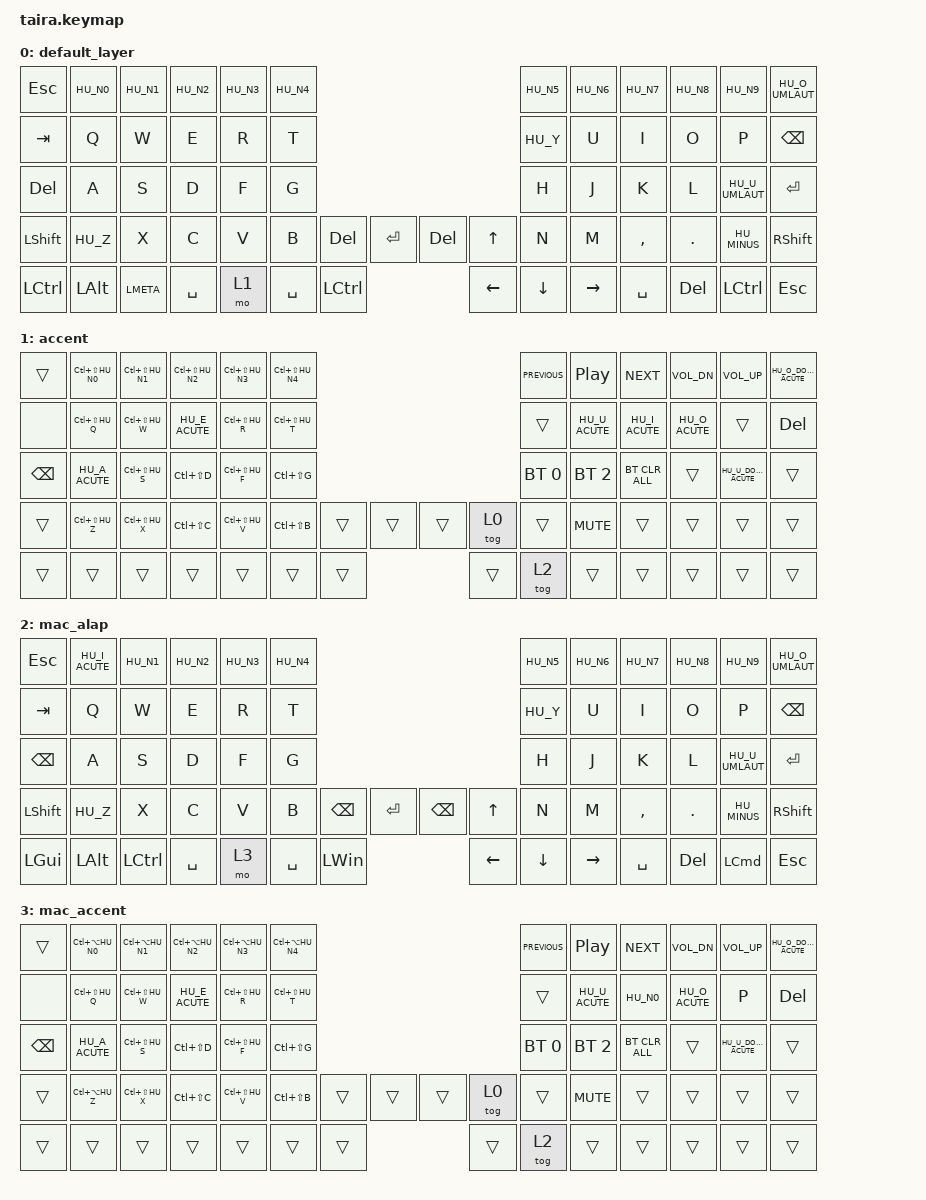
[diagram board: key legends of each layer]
/*
 * Copyright (c) 2020 The ZMK Contributors
 *
 * SPDX-License-Identifier: MIT
 */

#include "keys_hu.h"
#include <behaviors.dtsi>
#include <dt-bindings/zmk/bt.h>
#include <dt-bindings/zmk/keys.h>

#define DEFAULT 0
#define LOWER   1
#define RAISE   2
#define ADJUST  3
#define HYPER   4
#define GAME    5

/ {
    conditional_layers { compatible = "zmk,conditional-layers"; };

    combos { compatible = "zmk,combos"; };

    keymap {
        compatible = "zmk,keymap";

        default_layer {
            /* QWERTY
 * .----------------------------------------------------------------------------------------------------------------------------------.
 * |  `   |   1  |   2  |   3  |   4  |   5  |                                              |   6  |   7  |   8  |   9  |   0  | PScr |
 * |-------------+------+------+------+------+------+------+-------+-+-------+-------+------+------+------+------+------+------+------|
 * | ESC  |   Q  |   W  |   E  |   R  |   T  |                                              |   Y  |   U  |   I  |   O  |   P  |  \   |
 * |-------------+------+------+------+------+------+------+-------+-+-------+-------+------+------+------+------+------+------+------|
 * | Tab  |   A  |   S  |   D  |   F  |   G  |                                              |   H  |   J  |   K  |   L  |   ;  |  '   |
 * |-------------+------+------+------+------+------+------+-------+-+-------+-------+------+------+------+------+------+------+------|
 * | Shift|   Z  |   X  |   C  |   V  |   B  |      | Del  | PGDN  | | PGUP  | Home  |      |   N  |   M  |   ,  |   .  |   /  | Shift|
 * |-------------+------+------+------+------+------+------+-------+-+-------+-------+------+------+------+------+------+------+------|
 * | Ctrl | Alt  | Meta | Alt  |             | Meta | Space| Lower | | Raise | Enter | RAlt |             | LEFT | DOWN | UP   | RIGHT|
 * .----------------------------------------------------------------------------------------------------------------------------------.
 */

            bindings = <
&kp ESCAPE  &kp HU_N0     &kp HU_N1  &kp HU_N2  &kp HU_N3  &kp HU_N4                                                                                &kp HU_N5  &kp HU_N6  &kp HU_N7  &kp HU_N8   &kp HU_N9        &kp HU_O_UMLAUT
&kp TAB     &kp Q         &kp W      &kp E      &kp R      &kp T                                                                                    &kp HU_Y   &kp U      &kp I      &kp O       &kp P            &kp BACKSPACE
&kp DEL     &kp A         &kp S      &kp D      &kp F      &kp G                                                                                    &kp H      &kp J      &kp K      &kp L       &kp HU_U_UMLAUT  &kp ENTER
&kp LSHFT   &kp HU_Z      &kp X      &kp C      &kp V      &kp B             &kp DEL    &kp ENTER  &kp DELETE      &kp UP_ARROW                     &kp N      &kp M      &kp COMMA  &kp DOT     &kp HU_MINUS     &kp RSHFT
&kp LCTRL   &kp LEFT_ALT  &kp LMETA  &kp SPACE                        &mo 1  &kp SPACE  &kp LCTRL  &kp LEFT_ARROW  &kp DOWN_ARROW  &kp RIGHT_ARROW                        &kp SPACE  &kp DELETE  &kp LCTRL        &kp ESCAPE
            >;
        };

        accent {
            bindings = <
&trans         &kp LC(LS(HU_N0))  &kp LC(LS(HU_N1))  &kp LC(LS(HU_N2))  &kp LC(LS(HU_N3))  &kp LC(LS(HU_N4))                                                  &kp C_PREVIOUS  &kp C_PLAY_PAUSE  &kp C_NEXT      &kp C_VOL_DN    &kp C_VOL_UP           &kp HU_O_DOUBLE_ACUTE
&none          &kp LC(LS(HU_Q))   &kp LC(LS(HU_W))   &kp HU_E_ACUTE     &kp LC(LS(HU_R))   &kp LC(LS(HU_T))                                                   &trans          &kp HU_U_ACUTE    &kp HU_I_ACUTE  &kp HU_O_ACUTE  &trans                 &kp DEL
&kp BACKSPACE  &kp HU_A_ACUTE     &kp LC(LS(HU_S))   &kp LC(LS(D))      &kp LC(LS(HU_F))   &kp LC(LS(G))                                                      &bt BT_SEL 0    &bt BT_SEL 2      &bt BT_CLR_ALL  &trans          &kp HU_U_DOUBLE_ACUTE  &trans
&trans         &kp LC(LS(HU_Z))   &kp LC(LS(HU_X))   &kp LC(LS(C))      &kp LC(LS(HU_V))   &kp LC(LS(B))              &trans  &trans  &trans  &tog 0          &trans          &kp C_MUTE        &trans          &trans          &trans                 &trans
&trans         &trans             &trans             &trans                                                   &trans  &trans  &trans  &trans  &tog 2  &trans                                    &trans          &trans          &trans                 &trans
            >;
        };

        mac_alap {
            bindings = <
&kp ESCAPE     &kp HU_I_ACUTE  &kp HU_N1  &kp HU_N2  &kp HU_N3  &kp HU_N4                                                                                       &kp HU_N5  &kp HU_N6  &kp HU_N7  &kp HU_N8   &kp HU_N9         &kp HU_O_UMLAUT
&kp TAB        &kp Q           &kp W      &kp E      &kp R      &kp T                                                                                           &kp HU_Y   &kp U      &kp I      &kp O       &kp P             &kp BACKSPACE
&kp BACKSPACE  &kp A           &kp S      &kp D      &kp F      &kp G                                                                                           &kp H      &kp J      &kp K      &kp L       &kp HU_U_UMLAUT   &kp ENTER
&kp LSHFT      &kp HU_Z        &kp X      &kp C      &kp V      &kp B             &kp BACKSPACE  &kp ENTER     &kp BACKSPACE   &kp UP_ARROW                     &kp N      &kp M      &kp COMMA  &kp DOT     &kp HU_MINUS      &kp RSHFT
&kp LEFT_GUI   &kp LEFT_ALT    &kp LCTRL  &kp SPACE                        &mo 3  &kp SPACE      &kp LEFT_WIN  &kp LEFT_ARROW  &kp DOWN_ARROW  &kp RIGHT_ARROW                        &kp SPACE  &kp DELETE  &kp LEFT_COMMAND  &kp ESCAPE
            >;
        };

        mac_accent {
            bindings = <
&trans         &kp LC(LA(HU_N0))  &kp LC(LA(HU_N1))  &kp LC(LA(HU_N2))  &kp LC(LA(HU_N3))  &kp LC(LA(HU_N4))                                                  &kp C_PREVIOUS  &kp C_PLAY_PAUSE  &kp C_NEXT      &kp C_VOL_DN    &kp C_VOL_UP           &kp HU_O_DOUBLE_ACUTE
&none          &kp LC(LS(HU_Q))   &kp LC(LS(HU_W))   &kp HU_E_ACUTE     &kp LC(LS(HU_R))   &kp LC(LS(HU_T))                                                   &trans          &kp HU_U_ACUTE    &kp HU_N0       &kp HU_O_ACUTE  &kp P                  &kp DEL
&kp BACKSPACE  &kp HU_A_ACUTE     &kp LC(LS(HU_S))   &kp LC(LS(D))      &kp LC(LS(HU_F))   &kp LC(LS(G))                                                      &bt BT_SEL 0    &bt BT_SEL 2      &bt BT_CLR_ALL  &trans          &kp HU_U_DOUBLE_ACUTE  &trans
&trans         &kp LC(LA(HU_Z))   &kp LC(LS(HU_X))   &kp LC(LS(C))      &kp LC(LS(HU_V))   &kp LC(LS(B))              &trans  &trans  &trans  &tog 0          &trans          &kp C_MUTE        &trans          &trans          &trans                 &trans
&trans         &trans             &trans             &trans                                                   &trans  &trans  &trans  &trans  &tog 2  &trans                                    &trans          &trans          &trans                 &trans
            >;
        };
    };
};
